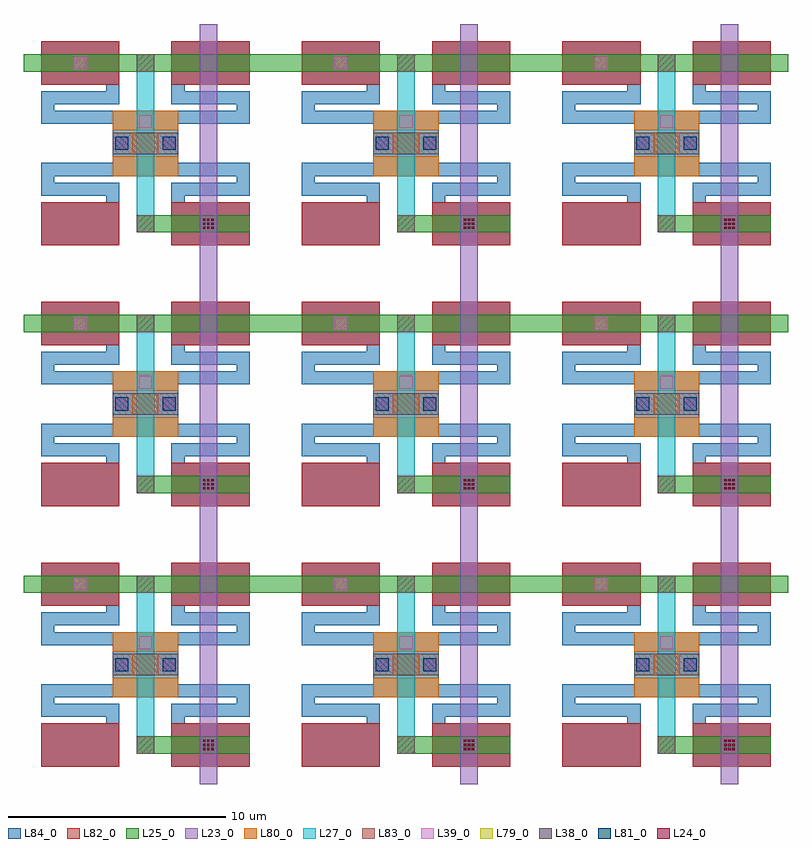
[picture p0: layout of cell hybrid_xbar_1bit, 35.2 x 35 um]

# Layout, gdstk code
import gdstk
lib = gdstk.Library(unit=1e-6, precision=1e-09)
def R(c, l, rs):  # rectangles x0, y0, x1, y1
    for r in rs: c.add(gdstk.rectangle(r[:2], r[2:], *l))
def A(c, l, x, y, w, h, nx, ny, dx, dy):  # array of equal rectangles
    R(c, l, [(x+i*dx, y+j*dy, x+i*dx+w, y+j*dy+h) for i in range(nx) for j in range(ny)])
L23_0 = (23, 0)
L24_0 = (24, 0)
L25_0 = (25, 0)
L27_0 = (27, 0)
L38_0 = (38, 0)
L39_0 = (39, 0)
L79_0 = (79, 0)
L80_0 = (80, 0)
L81_0 = (81, 0)
L82_0 = (82, 0)
L83_0 = (83, 0)
L84_0 = (84, 0)

nem_4t = lib.new_cell('nem_4T')
R(nem_4t, L39_0, [(3.4,4.4,4,5), (5.6,4.4,6.2,5), (4.5,5.4,5.1,6), (1.5,8.1,2.1,8.7)])
R(nem_4t, L80_0, [(3.3,3.2,6.3,4.1), (4.2,4.2,5.4,5.2), (3.3,5.3,6.3,6.2)])
R(nem_4t, L81_0, [(3.4,4.4,4,5), (5.6,4.4,6.2,5)])
R(nem_4t, L82_0, [(0,0,3.6,2), (6,0,9.6,2), (0,7.4,3.6,9.4), (6,7.4,9.6,9.4)])
R(nem_4t, L83_0, [(3.3,4.2,6.3,5.2)])
R(nem_4t, L84_0, [(0,0,3.6,2), (6,0,9.6,2), (3.3,3.2,6.3,6.2), (0,7.4,3.6,9.4), (6,7.4,9.6,9.4)])
nem_4t.add(gdstk.FlexPath([(3.3,3.5),(0.3,3.5),(0.3,2.6),(3.3,2.6),(3.3,2)], 0.6, ends="flush", simple_path=True, layer=84, datatype=0))  # L84_0
nem_4t.add(gdstk.FlexPath([(6.3,3.5),(9.3,3.5),(9.3,2.6),(6.3,2.6),(6.3,2)], 0.6, ends="flush", simple_path=True, layer=84, datatype=0))  # L84_0
nem_4t.add(gdstk.FlexPath([(6.3,5.9),(9.3,5.9),(9.3,6.8),(6.3,6.8),(6.3,7.4)], 0.6, ends="flush", simple_path=True, layer=84, datatype=0))  # L84_0
nem_4t.add(gdstk.FlexPath([(3.3,5.9),(0.3,5.9),(0.3,6.8),(3.3,6.8),(3.3,7.4)], 0.6, ends="flush", simple_path=True, layer=84, datatype=0))  # L84_0

hybrid_cell_1bit = lib.new_cell('hybrid_cell_1bit')
R(hybrid_cell_1bit, L38_0, [(4.4,0.6,5.2,1.4), (4.4,8,5.2,8.8)])
R(hybrid_cell_1bit, L39_0, [(3.4,4.4,4,5), (5.6,4.4,6.2,5)])
R(hybrid_cell_1bit, L79_0, [(4.4,0.6,5.2,1.4), (4.4,8,5.2,8.8)])
hybrid_cell_1bit.add(gdstk.FlexPath([(4.8,0.6),(4.8,8.8)], 0.8, ends="flush", simple_path=True, layer=27, datatype=0))  # L27_0
hybrid_cell_1bit.add(gdstk.Reference(nem_4t, (0,0)))

via78lg_cdns_55290795225 = lib.new_cell('VIA78LG_CDNS_552907952250')
R(via78lg_cdns_55290795225, L23_0, [(-0.265,-0.24,0.265,0.24)])
A(via78lg_cdns_55290795225, L24_0, -0.235, -0.235, 0.1, 0.1, 3, 3, 0.185, 0.185)
R(via78lg_cdns_55290795225, L25_0, [(-0.265,-0.24,0.265,0.24)])

hybrid_xbar_1bit = lib.new_cell('hybrid_xbar_1bit')
hybrid_xbar_1bit.add(gdstk.FlexPath([(33.6,25),(28.4,25)], 0.8, ends="flush", simple_path=True, layer=25, datatype=0))  # L25_0
hybrid_xbar_1bit.add(gdstk.FlexPath([(33.6,13),(28.4,13)], 0.8, ends="flush", simple_path=True, layer=25, datatype=0))  # L25_0
hybrid_xbar_1bit.add(gdstk.FlexPath([(33.6,1),(28.4,1)], 0.8, ends="flush", simple_path=True, layer=25, datatype=0))  # L25_0
hybrid_xbar_1bit.add(gdstk.FlexPath([(21.6,25),(16.4,25)], 0.8, ends="flush", simple_path=True, layer=25, datatype=0))  # L25_0
hybrid_xbar_1bit.add(gdstk.FlexPath([(21.6,13),(16.4,13)], 0.8, ends="flush", simple_path=True, layer=25, datatype=0))  # L25_0
hybrid_xbar_1bit.add(gdstk.FlexPath([(21.6,1),(16.4,1)], 0.8, ends="flush", simple_path=True, layer=25, datatype=0))  # L25_0
hybrid_xbar_1bit.add(gdstk.FlexPath([(9.6,25),(4.4,25)], 0.8, ends="flush", simple_path=True, layer=25, datatype=0))  # L25_0
hybrid_xbar_1bit.add(gdstk.FlexPath([(9.6,13),(4.4,13)], 0.8, ends="flush", simple_path=True, layer=25, datatype=0))  # L25_0
hybrid_xbar_1bit.add(gdstk.FlexPath([(9.6,1),(4.4,1)], 0.8, ends="flush", simple_path=True, layer=25, datatype=0))  # L25_0
hybrid_xbar_1bit.add(gdstk.FlexPath([(34.4,8.4),(-0.8,8.4)], 0.8, ends="flush", simple_path=True, layer=25, datatype=0))  # L25_0
hybrid_xbar_1bit.add(gdstk.FlexPath([(34.4,20.4),(-0.8,20.4)], 0.8, ends="flush", simple_path=True, layer=25, datatype=0))  # L25_0
hybrid_xbar_1bit.add(gdstk.FlexPath([(34.4,32.4),(-0.8,32.4)], 0.8, ends="flush", simple_path=True, layer=25, datatype=0))  # L25_0
hybrid_xbar_1bit.add(gdstk.FlexPath([(31.7,-0.8),(31.7,34.2)], 0.8, ends="flush", simple_path=True, layer=23, datatype=0))  # L23_0
hybrid_xbar_1bit.add(gdstk.FlexPath([(19.7,-0.8),(19.7,34.2)], 0.8, ends="flush", simple_path=True, layer=23, datatype=0))  # L23_0
hybrid_xbar_1bit.add(gdstk.FlexPath([(7.7,-0.8),(7.7,34.2)], 0.8, ends="flush", simple_path=True, layer=23, datatype=0))  # L23_0
r = gdstk.Reference(hybrid_cell_1bit, (0,0)); r.repetition = gdstk.Repetition(3, 3, v1=(12,0), v2=(0,12)); hybrid_xbar_1bit.add(r)
hybrid_xbar_1bit.add(gdstk.Reference(via78lg_cdns_55290795225, (31.7,25)))
hybrid_xbar_1bit.add(gdstk.Reference(via78lg_cdns_55290795225, (31.7,1)))
hybrid_xbar_1bit.add(gdstk.Reference(via78lg_cdns_55290795225, (31.7,13)))
hybrid_xbar_1bit.add(gdstk.Reference(via78lg_cdns_55290795225, (19.7,25)))
hybrid_xbar_1bit.add(gdstk.Reference(via78lg_cdns_55290795225, (19.7,1)))
hybrid_xbar_1bit.add(gdstk.Reference(via78lg_cdns_55290795225, (19.7,13)))
hybrid_xbar_1bit.add(gdstk.Reference(via78lg_cdns_55290795225, (7.7,25)))
hybrid_xbar_1bit.add(gdstk.Reference(via78lg_cdns_55290795225, (7.7,13)))
hybrid_xbar_1bit.add(gdstk.Reference(via78lg_cdns_55290795225, (7.7,1)))

lib.write_gds('hybrid_xbar_1bit.gds')
